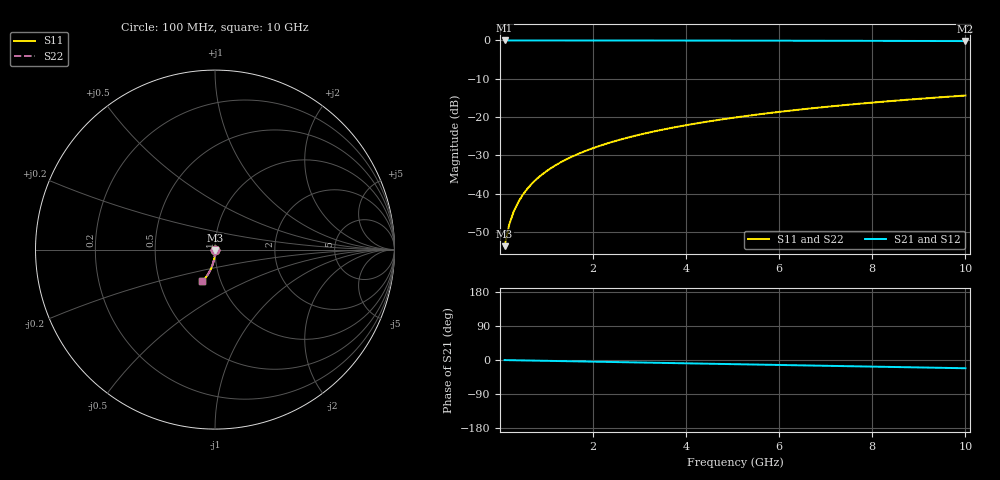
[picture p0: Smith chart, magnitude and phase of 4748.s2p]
# Hz S RI R 50.00
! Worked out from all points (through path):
!   100 points, 100 MHz to 10 GHz, reference 50 ohm
!   highest |S21| = -0.01 dB at 100 MHz (marker M1); lowest = -0.2 dB at 10 GHz (marker M2)
!   group delay of S21, straight-line fit = 6.05 ps
!   lowest |S11| = -53.7 dB at 100 MHz (marker M3), VSWR 1.00, Z = 50.1 - j0.197 ohm
!   |S11| at or under -10 dB: start of sweep to end of sweep
!   |S22| runs from -53.7 to -14.4 dB; largest |S21 - S12| = 0
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1e8  0.000611 -0.00196  0.9994 -0.00382  0.9994 -0.00382  0.000611 -0.00196
2e8  0.00059 -0.00393  0.9993 -0.00763  0.9993 -0.00763  0.00059 -0.00393
3e8  0.000553 -0.00589  0.9993 -0.0114  0.9993 -0.0114  0.000553 -0.00589
4e8  0.0005 -0.00786  0.9992 -0.0153  0.9992 -0.0153  0.0005 -0.00786
5e8  0.000432 -0.00982  0.9991 -0.0191  0.9991 -0.0191  0.000432 -0.00982
6e8  0.000349 -0.0118  0.999 -0.0229  0.999 -0.0229  0.000349 -0.0118
7e8  0.00025 -0.0137  0.9989 -0.0267  0.9989 -0.0267  0.00025 -0.0137
8e8  0.000137 -0.0157  0.9987 -0.0305  0.9987 -0.0305  0.000137 -0.0157
9e8  8.34e-06 -0.0177  0.9986 -0.0343  0.9986 -0.0343  8.34e-06 -0.0177
1.1e9  -0.000294 -0.0216  0.9982 -0.042  0.9982 -0.042  -0.000294 -0.0216
1.4e9  -0.00086 -0.0275  0.9975 -0.0534  0.9975 -0.0534  -0.00086 -0.0275
1.8e9  -0.00182 -0.0353  0.9963 -0.0686  0.9963 -0.0686  -0.00182 -0.0353
2.1e9  -0.0027 -0.0411  0.9952 -0.08  0.9952 -0.08  -0.0027 -0.0411
2.5e9  -0.00408 -0.0488  0.9935 -0.0951  0.9935 -0.0951  -0.00408 -0.0488
2.9e9  -0.0057 -0.0565  0.9915 -0.1102  0.9915 -0.1102  -0.0057 -0.0565
3.4e9  -0.00805 -0.0661  0.9886 -0.1291  0.9886 -0.1291  -0.00805 -0.0661
4.2e9  -0.0125 -0.0811  0.9831 -0.159  0.9831 -0.159  -0.0125 -0.0811
5.1e9  -0.0187 -0.0976  0.9754 -0.1922  0.9754 -0.1922  -0.0187 -0.0976
5.9e9  -0.0251 -0.112  0.9675 -0.2214  0.9675 -0.2214  -0.0251 -0.112
6.7e9  -0.0323 -0.1258  0.9585 -0.2502  0.9585 -0.2502  -0.0323 -0.1258
8.4e9  -0.0503 -0.1536  0.936 -0.3097  0.936 -0.3097  -0.0503 -0.1536
1e10  -0.0702 -0.1772  0.9108 -0.3634  0.9108 -0.3634  -0.0702 -0.1772
